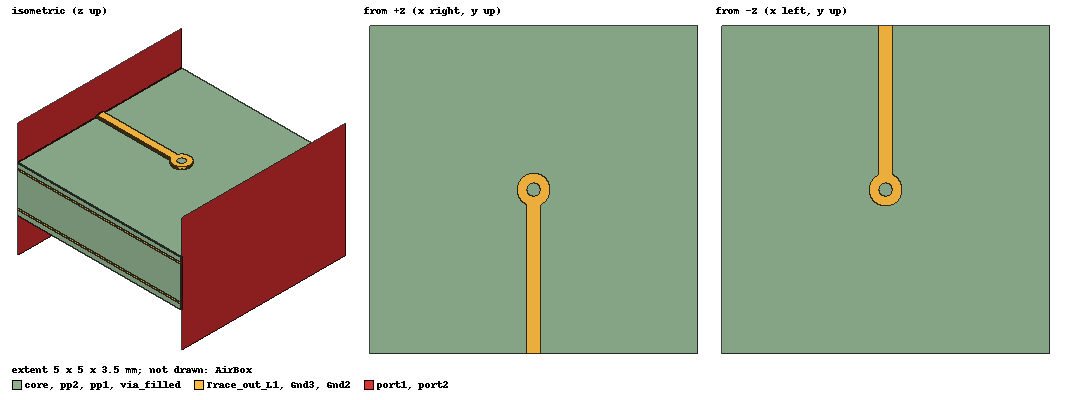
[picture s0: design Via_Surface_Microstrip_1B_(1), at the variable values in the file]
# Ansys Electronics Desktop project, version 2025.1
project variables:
  $Er1 = 4.5
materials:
  vacuum: permittivity=1
  Substrate 1 Dielectric: permittivity=$Er1 permeability=1.00001 dielectric_loss_tangent=0.085
  copper: permeability=0.999991 conductivity=58000000
  air: permittivity=1.0006 permeability=1.0000004
  FR4_epoxy: permittivity=4.4 dielectric_loss_tangent=0.02
  SolderMask: permittivity=3.1 dielectric_loss_tangent=0.035

design Via_Surface_Microstrip_1B_(1) (HFSS, HFSS Hybrid Terminal Network, model units mm)
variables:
  H1 = 150um
  W1 = 220um
  W2 = 210um
  T1 = 50um
  H_core = 1mm
  subX = 5mm
  subY = 5mm
  subZ = 5mm
  R_anti_pad = 400um
  R_pad = 250um
  R_drill = 125um
  R_filled = 100um
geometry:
  pp2 [Substrate 1 Dielectric] = box(corner=(0mm, 0mm, 0mm), size=(subX, subY, H1))
  Gnd3 [copper, solve inside] = box(corner=(0mm, 0mm, H1), size=(subX, subY, T1))
  via_anti_pad3 = cylinder(axis=Z, base_centre=(subX/2, subY/2, H1), radius=R_anti_pad, height=T1)
  Gnd3.subtract(via_anti_pad3)
  Trace_out_L4 = polyline(y=subY, xz: ((subX/2)-(W1)/2, 0mm) ((subX/2)+(W1)/2, 0mm) ((subX/2)+(W2)/2, -T1) ((subX/2)-(W2)/2, -T1) ((subX/2)-(W1)/2, 0mm), closed, covered)
  Trace_out_L4.thicken(-(subY/2-R_drill))
  AirBox [air] = box(corner=(0, 0, -5mm), size=(subX, subY, 5mm+(H1+T1+H_core+T1+H1+T1)+5mm))
  core [FR4_epoxy] = box(corner=(0mm, 0mm, H1+T1), size=(subX, subY, H_core))
  Gnd2 [copper, solve inside] = box(corner=(0mm, 0mm, H1+T1+H_core), size=(subX, subY, T1))
  via_anti_pad2 = cylinder(axis=Z, base_centre=(subX/2, subY/2, H1+T1+H_core), radius=R_anti_pad, height=T1)
  Gnd2.subtract(via_anti_pad2)
  pp1 [Substrate 1 Dielectric] = box(corner=(0mm, 0mm, H1+T1+H_core+T1), size=(subX, subY, H1))
  Trace_out_L1 [copper, solve inside] = polyline(y=0mm, xz: ((subX/2)-(W1)/2, H1+T1+H_core+T1+H1) ((subX/2)+(W1)/2, H1+T1+H_core+T1+H1) ((subX/2)+(W2)/2, H1+T1+H_core+T1+H1+T1) ((subX/2)-(W2)/2, H1+T1+H_core+T1+H1+T1) ((subX/2)-(W1)/2, H1+T1+H_core+T1+H1), closed, covered)
  Trace_out_L1.thicken(-(subY/2-R_drill))
  via_pad1 = cylinder(axis=Z, base_centre=(subX/2, subY/2, H1+T1+H_core+T1+H1), radius=R_pad, height=T1)
  via_pad4 = cylinder(axis=Z, base_centre=(subX/2, subY/2, 0), radius=R_pad, height=-T1)
  via_copper = cylinder(axis=Z, base_centre=(subX/2, subY/2, H1+T1+H_core+T1+H1+T1), radius=R_drill, height=-(H1+T1+H_core+T1+H1+T1+T1))
  via_filled [SolderMask] = cylinder(axis=Z, base_centre=(subX/2, subY/2, H1+T1+H_core+T1+H1+T1), radius=R_filled, height=-(H1+T1+H_core+T1+H1+T1+T1))
  via_copper_1 = via_copper.copy()
  core.subtract(via_copper_1)
  via_copper_2 = via_copper.copy()
  Gnd2.subtract(via_copper_2)
  via_copper_3 = via_copper.copy()
  Gnd3.subtract(via_copper_3)
  via_copper_4 = via_copper.copy()
  pp1.subtract(via_copper_4)
  via_copper_5 = via_copper.copy()
  pp2.subtract(via_copper_5)
  via_copper_6 = via_copper.copy()
  via_pad1.subtract(via_copper_6)
  via_copper_7 = via_copper.copy()
  via_pad4.subtract(via_copper_7)
  via_filled_1 = via_filled.copy()
  via_copper.subtract(via_filled_1)
  Trace_out_L1.unite(Trace_out_L4, via_copper, via_pad1, via_pad4)
  port1 = rectangle(corner=(0, 0, -(T1+H_core)), z_size=T1+T1+T1+T1+H1+H1+H_core+H_core+H_core, x_size=subX)
  port2 = rectangle(corner=(0, subY, -(T1+H_core)), z_size=T1+T1+T1+T1+H1+H1+H_core +H_core+H_core, x_size=subX)
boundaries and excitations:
  Rad1: Radiation Objects=AirBox
  Trace_out_L1_T1: Terminal port=1 Faces=Trace_out_L1.face(at (2.5, 0, 1.425)) TerminalResistance=50ohm
  Trace_out_L1_T2: Terminal port=2 Faces=Trace_out_L1.face(at (2.5, 5, -0.025)) TerminalResistance=50ohm
  1: Wave Port Faces=port1.face WavePortType=Terminal NumModes=1
  2: Wave Port Faces=port2.face WavePortType=Terminal NumModes=1
  reference conductors: Gnd2, Gnd3
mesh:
  Length1: LengthBased Objects=Trace_out_L1 MaxLength=0.1mm
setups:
  Setup1: HfssDriven Frequency=4GHz MaxDeltaS=0.01 MaximumPasses=30 MinimumPasses=1 MinimumConvergedPasses=1 PercentRefinement=30 BasisOrder=1 PortAccuracy=2 DrivenSolverType="Direct Solver"
    sweep Sweep: 0Hz to 1Hz, 1 points; 1Hz to 100MHz, log, 20 per decade; 100MHz to 1GHz step 10MHz; 1GHz to 16GHz step 10MHz; Type=Interpolating SaveFields SaveRadFields InterpTolerance=0.5 InterpMaxSolns=250 MinSolvedFreq=0.01GHz PassivityErrorTolerance=0.0001
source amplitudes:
  1:1: 1V 0deg
  2:1: 0V 0deg
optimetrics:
  ParametricSetup1: Parametric Sim._Setups=[Setup1]
    sweep R_anti_pad: LIN 300um 600um 50um
